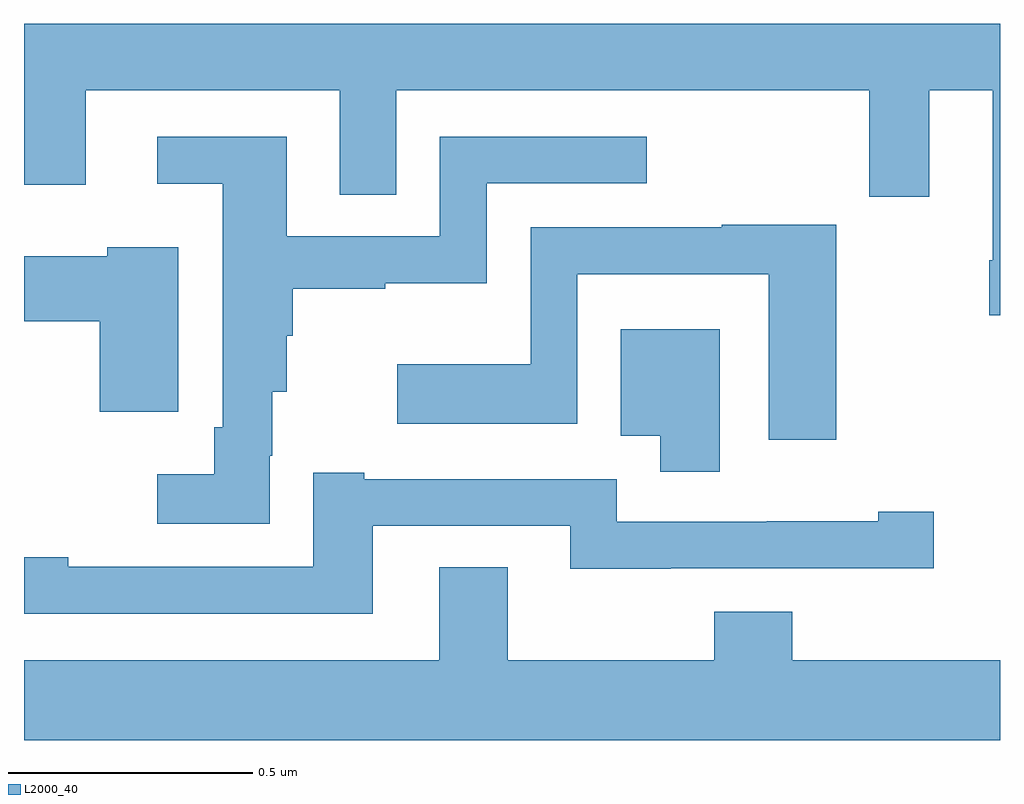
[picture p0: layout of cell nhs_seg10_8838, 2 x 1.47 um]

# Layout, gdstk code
import gdstk
lib = gdstk.Library(unit=1e-6, precision=1e-09)
def P(c, l, *ps):  # polygons
    for p in ps: c.add(gdstk.Polygon(p, *l))
L2000_40 = (2000, 40)

nhs_seg10_8838 = lib.new_cell('nhs_seg10_8838')
P(nhs_seg10_8838, L2000_40, [(224,1252.5),(222,1252.5),(222,1252.17),(222.127,1252.17),(222.127,1252.364),(222.647,1252.364),(222.647,1252.15),(222.763,1252.15),(222.763,1252.364),(223.732,1252.364),(223.732,1252.146),(223.855,1252.146),(223.855,1252.364),(223.985,1252.364),(223.985,1252.015),(223.978,1252.015),(223.978,1251.903),(224,1251.903)],
  [(222.504,1251.615),(222.509,1251.615),(222.509,1251.746),(222.538,1251.746),(222.538,1251.861),(222.551,1251.861),(222.551,1251.957),(222.74,1251.957),(222.74,1251.968),(222.948,1251.968),(222.948,1252.173),(223.276,1252.173),(223.276,1252.269),(222.852,1252.269),(222.852,1252.065),(222.538,1252.065),(222.538,1252.269),(222.273,1252.269),(222.273,1252.172),(222.407,1252.172),(222.407,1251.673),(222.39,1251.673),(222.39,1251.577),(222.273,1251.577),(222.273,1251.476),(222.504,1251.476)],
  [(223.664,1252.088),(223.43,1252.088),(223.43,1252.083),(223.038,1252.083),(223.038,1251.802),(222.765,1251.802),(222.765,1251.68),(223.134,1251.68),(223.134,1251.987),(223.526,1251.987),(223.526,1251.648),(223.664,1251.648)],
  [(222.316,1252.042),(222.171,1252.042),(222.171,1252.024),(222,1252.024),(222,1251.89),(222.155,1251.89),(222.155,1251.705),(222.316,1251.705)],
  [(223.426,1251.874),(223.223,1251.874),(223.223,1251.656),(223.304,1251.656),(223.304,1251.582),(223.426,1251.582)],
  [(222.715,1251.471),(223.119,1251.471),(223.119,1251.383),(223.325,1251.383),(223.325,1251.384),(223.864,1251.384),(223.864,1251.5),(223.751,1251.5),(223.751,1251.481),(223.522,1251.481),(223.522,1251.48),(223.215,1251.48),(223.215,1251.567),(222.697,1251.567),(222.697,1251.58),(222.593,1251.58),(222.593,1251.387),(222.091,1251.387),(222.091,1251.407),(222,1251.407),(222,1251.291),(222.715,1251.291)],
  [(224,1251.196),(223.574,1251.196),(223.574,1251.295),(223.414,1251.295),(223.414,1251.196),(222.991,1251.196),(222.991,1251.386),(222.851,1251.386),(222.851,1251.196),(222,1251.196),(222,1251.032),(224,1251.032)])

lib.write_gds('nhs_seg10_8838.gds')
